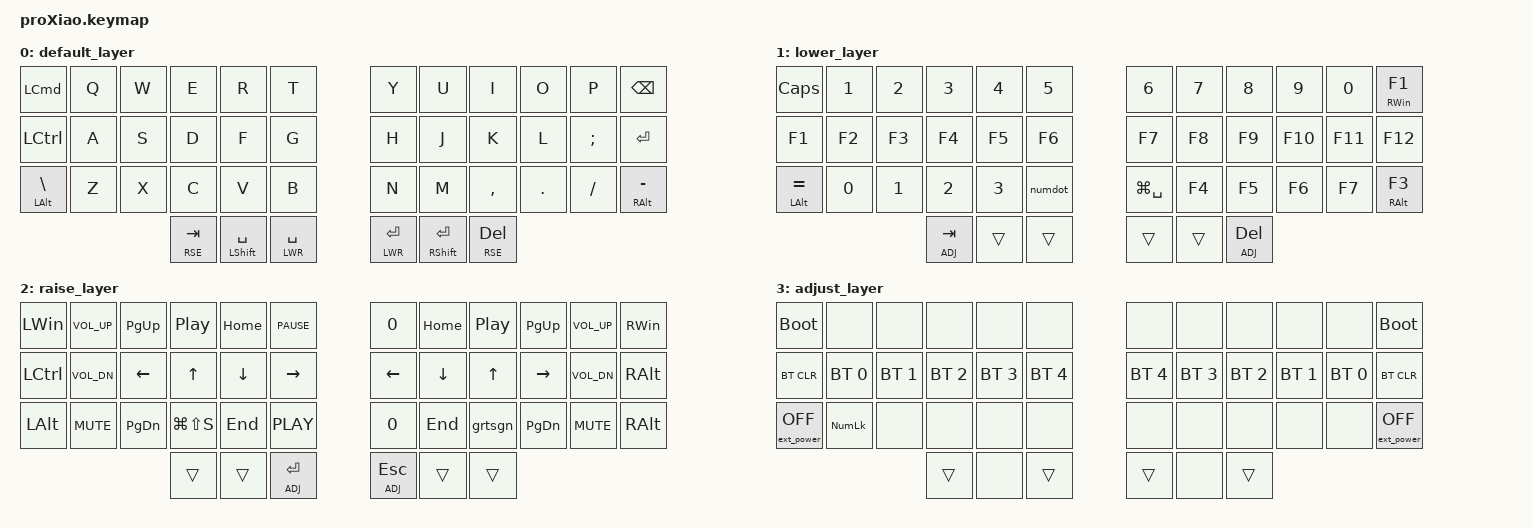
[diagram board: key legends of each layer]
/*
 * Copyright (c) 2020 The ZMK Contributors
 *
 * SPDX-License-Identifier: MIT
 */

#include <behaviors.dtsi>
#include <dt-bindings/zmk/bt.h>
#include <dt-bindings/zmk/ext_power.h>
#include <dt-bindings/zmk/keys.h>

#define DEF 0
#define LWR 1
#define RSE 2
#define ADJ 3

&lt { quick_tap_ms = <220>; };

&mt { quick_tap_ms = <220>; };

/ {
    macros {
        numdot: numdot {
            label = "ZM_numdot";
            compatible = "zmk,behavior-macro";
            #binding-cells = <0>;
            wait-ms = <40>;
            tap-ms = <40>;
            bindings =
                <&macro_press>,
                <&kp LALT>,
                <&macro_tap>,
                <&kp KP_N4 &kp KP_N6>,
                <&macro_release>,
                <&kp LALT>;
        };

        grtsgn: grtsgn {
            label = "ZM_grtsgn";
            compatible = "zmk,behavior-macro";
            #binding-cells = <0>;
            wait-ms = <40>;
            tap-ms = <40>;
            bindings =
                <&macro_press>,
                <&kp LALT>,
                <&macro_tap>,
                <&kp KP_N6 &kp KP_N2>,
                <&macro_release>,
                <&kp LALT>;
        };
    };
};

/ {
    keymap {
        compatible = "zmk,keymap";

        default_layer {
            // ------------------------------------------------------------------------------------------------
            //| LGUI/] |  Q  |  W  |  E  |  R  |  T  |   |  Y  |  U   |  I  |  O  |  P  | RGUI/[ | 
            //| CTRL/` |  A  |  S  |  D  |  F  |  G  |   |  H  |  J   |  K  |  L  |  ;  | CTRL/' |
            //| LALT/\ |  Z  |  X  |  C  |  V  |  B  |   |  N  |  M   |  ,  |  .  |  /  | RALT/- |
            //                             | RSE | SPC | LWR |   | LWR | BKSP | RSE |

            bindings = <
&kp LEFT_COMMAND  &kp Q  &kp W  &kp E        &kp R            &kp T            &kp Y          &kp U                  &kp I        &kp O    &kp P     &kp BACKSPACE
&kp LEFT_CONTROL  &kp A  &kp S  &kp D        &kp F            &kp G            &kp H          &kp J                  &kp K        &kp L    &kp SEMI  &kp ENTER
&mt LALT BSLH     &kp Z  &kp X  &kp C        &kp V            &kp B            &kp N          &kp M                  &kp COMMA    &kp DOT  &kp FSLH  &mt RALT MINUS
                                &lt RSE TAB  &mt LSHFT SPACE  &lt LWR SPACE    &lt LWR ENTER  &mt RIGHT_SHIFT ENTER  &lt RSE DEL
            >;
        };

        lower_layer {
            // -----------------------------------------------------------------------------------------
            //|LGUI/CAPS |  *  |  7 |  8  |  9  |  +  |    |  !  |  @  |  #  |  $  |  %  | RGUI/F1 |
            //|CTRL/MENU |  /  |  4 |  5  |  6  |  -  |    |  ^  |  &  |  *  |  (  |  )  | CTRL/F2 |
            //|  LALT/=  |  0  |  1 |  4  |  3  |  .  |    |  ls |  F4 |  F5 |  F6 |  F7 | RALT/F3 |
            //                      | ADJ | ___ | ___ |    | ___ | ___ | ADJ |

            bindings = <
&kp CAPSLOCK    &kp NUMBER_1  &kp NUMBER_2  &kp NUMBER_3  &kp NUMBER_4  &kp NUMBER_5    &kp NUMBER_6   &kp N7  &kp NUMBER_8  &kp NUMBER_9  &kp NUMBER_0  &mt RWIN F1
&kp F1          &kp F2        &kp F3        &kp F4        &kp F5        &kp F6          &kp F7         &kp F8  &kp F9        &kp F10       &kp F11       &kp F12
&mt LALT EQUAL  &kp N0        &kp N1        &kp N2        &kp N3        &numdot         &kp LG(SPACE)  &kp F4  &kp F5        &kp F6        &kp F7        &mt RALT F3
                                            &lt ADJ TAB   &trans        &trans          &trans         &trans  &lt ADJ DEL
            >;
        };

        raise_layer {
            // -----------------------------------------------------------------------------------------
            //| LGUI |  VOLU  |  PGUP  | PLAY | HOME | ___  |            | ___  | HOME | PLAY| PGUP | VOLU | RGUI |
            //| CTRL |  VOLD  |  LEFT  |  UP  | DOWN | RGHT |            | RGHT | DOWN | UP  | LEFT | VOLD | CTRL | 
            //| LALT |  MUTE  |  PGDN  |  ___ | END  | ___  |            | ___  | END  | ___ | PGDN | MUTE | RALT |
            //                          | ___ | ___  | ADJ  |            | ADJ  | ___  | ___ |

            bindings = <
&kp LWIN   &kp C_VOL_UP  &kp PG_UP  &kp C_PP       &kp HOME  &kp C_PAUSE    &kp N0       &kp HOME  &kp C_PP  &kp PG_UP  &kp C_VOL_UP  &kp RWIN
&kp LCTRL  &kp C_VOL_DN  &kp LEFT   &kp UP         &kp DOWN  &kp RIGHT      &kp LEFT     &kp DOWN  &kp UP    &kp RIGHT  &kp C_VOL_DN  &kp RALT
&kp LALT   &kp C_MUTE    &kp PG_DN  &kp LG(LS(S))  &kp END   &kp C_PLAY     &kp N0       &kp END   &grtsgn   &kp PG_DN  &kp C_MUTE    &kp RALT
                                    &trans         &trans    &lt ADJ RET    &lt ADJ ESC  &trans    &trans
            >;
        };

        adjust_layer {
            // -----------------------------------------------------------------------------------------
            //| BLDR |     |     |     |     |     |   |     |     |     |     |     | BLDR |
            //| BTCLR| BT0 | BT1 | BT2 | BT3 | BT4 |   | BT4 | BT3 | BT2 | BT1 | BT0 | BTCLR|
            //|pwrOFF|NUMLK|     |     |     |     |   |     |     |     |     |     |      |
            //                   |     |     |     |   |     |     |     |

            bindings = <
&bootloader        &none         &none         &none         &none         &none           &none         &none         &none         &none         &none         &bootloader
&bt BT_CLR         &bt BT_SEL 0  &bt BT_SEL 1  &bt BT_SEL 2  &bt BT_SEL 3  &bt BT_SEL 4    &bt BT_SEL 4  &bt BT_SEL 3  &bt BT_SEL 2  &bt BT_SEL 1  &bt BT_SEL 0  &bt BT_CLR
&ext_power EP_OFF  &kp KP_NUM    &none         &none         &none         &none           &none         &none         &none         &none         &none         &ext_power EP_OFF
                                               &trans        &none         &trans          &trans        &none         &trans
            >;
        };
    };
};
